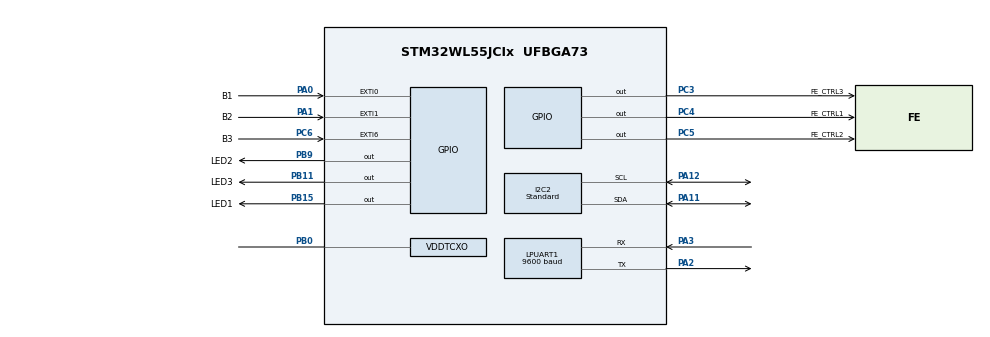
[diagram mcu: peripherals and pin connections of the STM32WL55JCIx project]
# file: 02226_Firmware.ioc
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I2C2.I2C_Speed_Mode=I2C_Standard
I2C2.Timing=0x20303E5D
LPUART1.BaudRate=9600
Mcu.Family=STM32WL
Mcu.Name=STM32WL55JCIx
Mcu.Package=UFBGA73
NVIC.PriorityGroup=NVIC_PRIORITYGROUP_4
NVIC.SUBGHZ_Radio_IRQn=true\:0\:0\:false\:false\:true\:true\:true\:true
OSC_IN.Mode=HSE-TCXO
OSC_IN.Signal=RCC_OSC_IN
PA0.GPIO_Label=B1
PA0.GPIO_ModeDefaultEXTI=GPIO_MODE_IT_FALLING
PA0.GPIO_PuPd=GPIO_PULLUP
PA0.Signal=GPXTI0
PA1.GPIO_Label=B2
PA1.GPIO_ModeDefaultEXTI=GPIO_MODE_IT_FALLING
PA1.GPIO_PuPd=GPIO_PULLUP
PA1.Signal=GPXTI1
PA11.GPIO_Pu=GPIO_PULLUP
PA11.GPIO_Speed=GPIO_SPEED_FREQ_VERY_HIGH
PA11.Mode=I2C
PA11.Signal=I2C2_SDA
PA12.GPIO_Pu=GPIO_PULLUP
PA12.GPIO_Speed=GPIO_SPEED_FREQ_VERY_HIGH
PA12.Mode=I2C
PA12.Signal=I2C2_SCL
PA13.Mode=Serial_Wire
PA13.Signal=DEBUG_JTMS-SWDIO
PA14.Mode=Serial_Wire
PA14.Signal=DEBUG_JTCK-SWCLK
PA2.Mode=Asynchronous
PA2.Signal=LPUART1_TX
PA3.Mode=Asynchronous
PA3.Signal=LPUART1_RX
PB0-VDD_TCXO.Mode=HSE-TCXO
PB0-VDD_TCXO.Signal=VDDTCXO
PB11.GPIO_Label=LED3
PB11.GPIO_Speed=GPIO_SPEED_FREQ_HIGH
PB11.PinState=GPIO_PIN_SET
PB11.Signal=GPIO_Output
PB15.GPIO_Label=LED1
PB15.GPIO_Speed=GPIO_SPEED_FREQ_HIGH
PB15.PinState=GPIO_PIN_SET
PB15.Signal=GPIO_Output
PB9.GPIO_FM9=__NULL
PB9.GPIO_Label=LED2
PB9.GPIO_Speed=GPIO_SPEED_FREQ_HIGH
PB9.PinState=GPIO_PIN_RESET
PB9.Signal=GPIO_Output
PC14-OSC32_IN.Mode=LSE-External-Oscillator
PC14-OSC32_IN.Signal=RCC_OSC32_IN
PC15-OSC32_OUT.Mode=LSE-External-Oscillator
PC15-OSC32_OUT.Signal=RCC_OSC32_OUT
PC3.GPIO_Label=FE_CTRL3
PC3.GPIO_Speed=GPIO_SPEED_FREQ_VERY_HIGH
PC3.Signal=GPIO_Output
PC4.GPIO_Label=FE_CTRL1
PC4.GPIO_Speed=GPIO_SPEED_FREQ_VERY_HIGH
PC4.Signal=GPIO_Output
PC5.GPIO_Label=FE_CTRL2
PC5.GPIO_Speed=GPIO_SPEED_FREQ_VERY_HIGH
PC5.Signal=GPIO_Output
PC6.GPIO_Label=B3
PC6.GPIO_ModeDefaultEXTI=GPIO_MODE_IT_FALLING
PC6.GPIO_PuPd=GPIO_PULLUP
PC6.Signal=GPXTI6
ProjectManager.HeapSize=0x200
ProjectManager.StackSize=0x400
ProjectManager.TargetToolchain=STM32CubeIDE
RCC.AHBFreq_Value=48000000
RCC.APB1Freq_Value=48000000
RCC.APB1TimFreq_Value=48000000
RCC.APB2Freq_Value=48000000
RCC.APB2TimFreq_Value=48000000
RCC.APB3Freq_Value=48000000
RCC.CortexFreq_Value=48000000
RCC.HCLKFreq_Value=48000000
RCC.HSE_VALUE=32000000
RCC.HSI_VALUE=16000000
RCC.LPUART1CLockSelection=RCC_LPUART1CLKSOURCE_HSI
RCC.LSE_VALUE=32768
RCC.MSIClockRange=RCC_MSIRANGE_11
RCC.SYSCLKFreq_VALUE=48000000
RCC.VCOOutputFreq_Value=384000000
SUBGHZ.BaudratePrescaler=SUBGHZSPI_BAUDRATEPRESCALER_4
VP_SUBGHZ_VS_SUBGHZ.Mode=SUBGHZ_Activate
board=NUCLEO-WL55JC1

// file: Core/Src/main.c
/* USER CODE BEGIN Header */
/**
 ******************************************************************************
 * @file           : main.c
 * @brief          : Main program body
 ******************************************************************************
 * @attention
 *
 * Copyright (c) 2023 STMicroelectronics.
 * All rights reserved.
 *
 * This software is licensed under terms that can be found in the LICENSE file
 * in the root directory of this software component.
 * If no LICENSE file comes with this software, it is provided AS-IS.
 *
 ******************************************************************************
 */
/* USER CODE END Header */
#include "main.h"
#include "gpio.h"
#include "i2c.h"
#include "stm32wlxx_hal.h"
#include "stm32wlxx_hal_def.h"
#include "stm32wlxx_hal_uart.h"
#include "subghz.h"
#include "usart.h"

/* USER CODE BEGIN Includes */

#include "bme680.h"
#include "radio_driver.h"
#include "stm32wlxx_nucleo.h"
#include <stddef.h>
#include <stdint.h>
#include <stdio.h>
#include <string.h>

/* USER CODE END Includes */

/* USER CODE BEGIN PTD */

typedef enum { STATE_NULL, STATE_MASTER, STATE_SLAVE } state_t;

typedef enum { SSTATE_NULL, SSTATE_RX, SSTATE_TX } substate_t;

typedef struct {
  state_t state;
  substate_t subState;
  uint32_t rxTimeout;
  uint32_t rxMargin;
  uint32_t randomDelay;
  char rxBuffer[RX_BUFFER_SIZE];
  uint8_t rxSize;
} pingPongFSM_t;

/* USER CODE END PTD */

/* USER CODE BEGIN PM */

#define RF_FREQUENCY 868000000 /* Hz */
#define TX_OUTPUT_POWER 14     /* dBm */
#define LORA_BANDWIDTH 0       /* Hz */
#define LORA_SPREADING_FACTOR 10
#define LORA_CODINGRATE 1
#define LORA_PREAMBLE_LENGTH 8 /* Same for Tx and Rx */
#define LORA_SYMBOL_TIMEOUT 5  /* Symbols */

/* USER CODE END PM */

/* USER CODE BEGIN PV */

char message[50];
void (*volatile eventReceptor)(pingPongFSM_t *const fsm);
PacketParams_t packetParams; // TODO: this is lazy
const RadioLoRaBandwidths_t Bandwidths[] = {LORA_BW_125, LORA_BW_250,
                                            LORA_BW_500};

/* USER CODE END PV */

void SystemClock_Config(void);
/* USER CODE BEGIN PFP */

void radioInit(void);
void RadioOnDioIrq(RadioIrqMasks_t radioIrq);
void eventTxDone(pingPongFSM_t *const fsm);
void eventRxDone(pingPongFSM_t *const fsm);
void eventTxTimeout(pingPongFSM_t *const fsm);
void eventRxTimeout(pingPongFSM_t *const fsm);
void eventRxError(pingPongFSM_t *const fsm);
void enterMasterRx(pingPongFSM_t *const fsm);
void enterSlaveRx(pingPongFSM_t *const fsm);
void enterMasterTx(pingPongFSM_t *const fsm, char *message, size_t size);
void enterSlaveTx(pingPongFSM_t *const fsm, char *message, size_t size);
void transitionRxDone(pingPongFSM_t *const fsm);

/* USER CODE END PFP */

/* USER CODE BEGIN 0 */

#ifdef TRANSMITTER

void user_delay_ms(uint32_t period) { HAL_Delay(period); }

int8_t user_i2c_read(uint8_t dev_id, uint8_t reg_addr, uint8_t *reg_data,
                     uint16_t len) {
  int8_t rslt = 0;
  HAL_StatusTypeDef status = HAL_OK;

  status = HAL_I2C_Mem_Read(&hi2c2, (uint16_t)(dev_id << 1), reg_addr,
                            I2C_MEMADD_SIZE_8BIT, (uint8_t *)reg_data, len, 5);

  if (status != HAL_OK)
    rslt = -1;

  return rslt;
}

int8_t user_i2c_write(uint8_t dev_id, uint8_t reg_addr, uint8_t *reg_data,
                      uint16_t len) {
  int8_t rslt = 0;
  HAL_StatusTypeDef status = HAL_OK;

  status = HAL_I2C_Mem_Write(&hi2c2, (uint16_t)(dev_id << 1), reg_addr,
                             I2C_MEMADD_SIZE_8BIT, (uint8_t *)reg_data, len, 5);

  if (status != HAL_OK)
    rslt = -1;

  return rslt;
}

#endif

/* USER CODE END 0 */

int main(void) {
  /* USER CODE BEGIN 1 */

  pingPongFSM_t fsm;
  char uartBuff[100];

  /* USER CODE END 1 */

  /* MCU Configuration--------------------------------------------------------*/

  /* Reset of all peripherals, Initializes the Flash interface and the Systick.
   */
  HAL_Init();

  /* Configure the system clock */
  SystemClock_Config();

  /* Initialize all configured peripherals */
  MX_GPIO_Init();
  MX_I2C2_Init();
  MX_LPUART1_UART_Init();
  MX_SUBGHZ_Init();
  /* USER CODE BEGIN 2 */

  strcpy(uartBuff,
         "\n\r02226 Networked Embedded Systems\r\nDTU\r\n---------------\r\n");
  HAL_UART_Transmit(&hlpuart1, (uint8_t *)uartBuff, strlen(uartBuff),
                    HAL_MAX_DELAY);
  sprintf(uartBuff, "LORA_MODULATION\r\nLORA_BW=%d Hz\r\nLORA_SF=%d\r\n",
          (1 << LORA_BANDWIDTH) * 125, LORA_SPREADING_FACTOR);
  HAL_UART_Transmit(&hlpuart1, (uint8_t *)uartBuff, strlen(uartBuff),
                    HAL_MAX_DELAY);
  radioInit();

  uint32_t rnd = 0;
  SUBGRF_SetDioIrqParams(IRQ_RADIO_NONE, IRQ_RADIO_NONE, IRQ_RADIO_NONE,
                         IRQ_RADIO_NONE);
  rnd = SUBGRF_GetRandom();

  fsm.state = STATE_NULL;
  fsm.subState = SSTATE_NULL;
  fsm.rxTimeout = 3000;        // 3000 ms
  fsm.rxMargin = 200;          // 200 ms
  fsm.randomDelay = rnd >> 22; // [0, 1023] ms
  sprintf(uartBuff, "rand=%lu\r\n", fsm.randomDelay);
  HAL_UART_Transmit(&hlpuart1, (uint8_t *)uartBuff, strlen(uartBuff),
                    HAL_MAX_DELAY);

  HAL_Delay(fsm.randomDelay);
  SUBGRF_SetDioIrqParams(IRQ_RX_DONE | IRQ_RX_TX_TIMEOUT | IRQ_CRC_ERROR,
                         IRQ_RX_DONE | IRQ_RX_TX_TIMEOUT | IRQ_CRC_ERROR,
                         IRQ_RADIO_NONE, IRQ_RADIO_NONE);
  SUBGRF_SetSwitch(RFO_LP, RFSWITCH_RX);
  SUBGRF_SetRx(fsm.rxTimeout << 6);
  fsm.state = STATE_MASTER;
  fsm.subState = SSTATE_RX;

  HAL_Delay(2000);
  BSP_LED_Off(LED_BLUE);
  BSP_LED_On(LED_RED);

#ifdef TRANSMITTER

  /* Initializing sensor */
  struct bme680_dev sensor;
  sensor.dev_id = BME680_I2C_ADDR_SECONDARY;
  sensor.intf = BME680_I2C_INTF;
  sensor.read = user_i2c_read;
  sensor.write = user_i2c_write;
  sensor.delay_ms = user_delay_ms;
  sensor.amb_temp = 25;

  int8_t rslt = BME680_OK;
  rslt = bme680_init(&sensor);

  if (rslt != 0) {
    // Initialization failed
  }

  /* Configuring sensor */
  sensor.tph_sett.os_hum = BME680_OS_2X;
  sensor.tph_sett.os_pres = BME680_OS_4X;
  sensor.tph_sett.os_temp = BME680_OS_8X;
  sensor.tph_sett.filter = BME680_FILTER_SIZE_3;
  sensor.gas_sett.run_gas = BME680_DISABLE_GAS_MEAS;
  sensor.gas_sett.heatr_temp = 0;
  sensor.gas_sett.heatr_dur = 0;
  sensor.power_mode = BME680_FORCED_MODE;

  uint8_t set_required_settings = BME680_OST_SEL | BME680_OSP_SEL |
                                  BME680_OSH_SEL | BME680_FILTER_SEL |
                                  BME680_GAS_SENSOR_SEL;

  rslt = bme680_set_sensor_settings(set_required_settings, &sensor);
  rslt = bme680_set_sensor_mode(&sensor);

  uint16_t meas_period;
  bme680_get_profile_dur(&meas_period, &sensor);

  struct bme680_field_data data;

#endif

  /* USER CODE END 2 */

  /* Infinite loop */
  /* USER CODE BEGIN WHILE */
  while (1) {

    eventReceptor = NULL;
    while (eventReceptor == NULL)
      ;
    eventReceptor(&fsm);

#ifdef TRANSMITTER

    rslt = bme680_get_sensor_data(&data, &sensor);

    sprintf(message, ",%d,%d,%d", data.temperature, data.pressure,
            data.humidity);

    rslt = bme680_set_sensor_mode(&sensor);

#endif

    /* USER CODE END WHILE */

  }
}

void SystemClock_Config(void) {
  RCC_OscInitTypeDef RCC_OscInitStruct = {0};
  RCC_ClkInitTypeDef RCC_ClkInitStruct = {0};

  /** Configure LSE Drive Capability
   */
  HAL_PWR_EnableBkUpAccess();
  __HAL_RCC_LSEDRIVE_CONFIG(RCC_LSEDRIVE_LOW);

  /** Configure the main internal regulator output voltage
   */
  __HAL_PWR_VOLTAGESCALING_CONFIG(PWR_REGULATOR_VOLTAGE_SCALE1);

  /** Initializes the CPU, AHB and APB buses clocks
   */
  RCC_OscInitStruct.OscillatorType =
      RCC_OSCILLATORTYPE_HSI | RCC_OSCILLATORTYPE_LSE | RCC_OSCILLATORTYPE_MSI;
  RCC_OscInitStruct.LSEState = RCC_LSE_ON;
  RCC_OscInitStruct.HSIState = RCC_HSI_ON;
  RCC_OscInitStruct.MSIState = RCC_MSI_ON;
  RCC_OscInitStruct.HSICalibrationValue = RCC_HSICALIBRATION_DEFAULT;
  RCC_OscInitStruct.MSICalibrationValue = RCC_MSICALIBRATION_DEFAULT;
  RCC_OscInitStruct.MSIClockRange = RCC_MSIRANGE_11;
  RCC_OscInitStruct.PLL.PLLState = RCC_PLL_NONE;
  if (HAL_RCC_OscConfig(&RCC_OscInitStruct) != HAL_OK) {
    Error_Handler();
  }

  /** Configure the SYSCLKSource, HCLK, PCLK1 and PCLK2 clocks dividers
   */
  RCC_ClkInitStruct.ClockType = RCC_CLOCKTYPE_HCLK3 | RCC_CLOCKTYPE_HCLK |
                                RCC_CLOCKTYPE_SYSCLK | RCC_CLOCKTYPE_PCLK1 |
                                RCC_CLOCKTYPE_PCLK2;
  RCC_ClkInitStruct.SYSCLKSource = RCC_SYSCLKSOURCE_MSI;
  RCC_ClkInitStruct.AHBCLKDivider = RCC_SYSCLK_DIV1;
  RCC_ClkInitStruct.APB1CLKDivider = RCC_HCLK_DIV1;
  RCC_ClkInitStruct.APB2CLKDivider = RCC_HCLK_DIV1;
  RCC_ClkInitStruct.AHBCLK3Divider = RCC_SYSCLK_DIV1;

  if (HAL_RCC_ClockConfig(&RCC_ClkInitStruct, FLASH_LATENCY_2) != HAL_OK) {
    Error_Handler();
  }
}

/* USER CODE BEGIN 4 */

/**
 * @brief  Initialize the Sub-GHz radio and dependent hardware.
 * @retval None
 */
void radioInit(void) {
  // Initialize the hardware (SPI bus, TCXO control, RF switch)
  SUBGRF_Init(RadioOnDioIrq);

  // Use DCDC converter if `DCDC_ENABLE` is defined in radio_conf.h
  // "By default, the SMPS clock detection is disabled and must be enabled
  // before enabling the SMPS." (6.1 in RM0453)
  SUBGRF_WriteRegister(SUBGHZ_SMPSC0R, (SUBGRF_ReadRegister(SUBGHZ_SMPSC0R) |
                                        SMPS_CLK_DET_ENABLE));
  SUBGRF_SetRegulatorMode();

  // Use the whole 256-byte buffer for both TX and RX
  SUBGRF_SetBufferBaseAddress(0x00, 0x00);

  SUBGRF_SetRfFrequency(RF_FREQUENCY);
  SUBGRF_SetRfTxPower(TX_OUTPUT_POWER);
  SUBGRF_SetStopRxTimerOnPreambleDetect(false);

  SUBGRF_SetPacketType(PACKET_TYPE_LORA);

  SUBGRF_WriteRegister(REG_LR_SYNCWORD,
                       (LORA_MAC_PRIVATE_SYNCWORD >> 8) & 0xFF);
  SUBGRF_WriteRegister(REG_LR_SYNCWORD + 1, LORA_MAC_PRIVATE_SYNCWORD & 0xFF);

  ModulationParams_t modulationParams;
  modulationParams.PacketType = PACKET_TYPE_LORA;
  modulationParams.Params.LoRa.Bandwidth = Bandwidths[LORA_BANDWIDTH];
  modulationParams.Params.LoRa.CodingRate =
      (RadioLoRaCodingRates_t)LORA_CODINGRATE;
  modulationParams.Params.LoRa.LowDatarateOptimize = 0x00;
  modulationParams.Params.LoRa.SpreadingFactor =
      (RadioLoRaSpreadingFactors_t)LORA_SPREADING_FACTOR;
  SUBGRF_SetModulationParams(&modulationParams);

  packetParams.PacketType = PACKET_TYPE_LORA;
  packetParams.Params.LoRa.CrcMode = LORA_CRC_ON;
  packetParams.Params.LoRa.HeaderType = LORA_PACKET_VARIABLE_LENGTH;
  packetParams.Params.LoRa.InvertIQ = LORA_IQ_NORMAL;
  packetParams.Params.LoRa.PayloadLength = 0xFF;
  packetParams.Params.LoRa.PreambleLength = LORA_PREAMBLE_LENGTH;
  SUBGRF_SetPacketParams(&packetParams);

  // SUBGRF_SetLoRaSymbNumTimeout(LORA_SYMBOL_TIMEOUT);

  // WORKAROUND - Optimizing the Inverted IQ Operation, see DS_SX1261-2_V1.2
  // datasheet chapter 15.4 RegIqPolaritySetup @address 0x0736
  SUBGRF_WriteRegister(0x0736, SUBGRF_ReadRegister(0x0736) | (1 << 2));
}

/**
 * @brief  Receive data trough SUBGHZSPI peripheral
 * @param  radioIrq  interrupt pending status information
 * @retval None
 */
void RadioOnDioIrq(RadioIrqMasks_t radioIrq) {
  switch (radioIrq) {
  case IRQ_TX_DONE:
    eventReceptor = eventTxDone;
    break;
  case IRQ_RX_DONE:
    eventReceptor = eventRxDone;
    break;
  case IRQ_RX_TX_TIMEOUT:
    if (SUBGRF_GetOperatingMode() == MODE_TX) {
      eventReceptor = eventTxTimeout;
    } else if (SUBGRF_GetOperatingMode() == MODE_RX) {
      eventReceptor = eventRxTimeout;
    }
    break;
  case IRQ_CRC_ERROR:
    eventReceptor = eventRxError;
    break;
  default:
    break;
  }
}

/**
 * @brief  Process the TX Done event
 * @param  fsm pointer to FSM context
 * @retval None
 */
void eventTxDone(pingPongFSM_t *const fsm) {
  switch (fsm->state) {
  case STATE_MASTER:
    switch (fsm->subState) {
    case SSTATE_TX:
      enterMasterRx(fsm);
      fsm->subState = SSTATE_RX;
      break;
    default:
      break;
    }
    break;
  case STATE_SLAVE:
    switch (fsm->subState) {
    case SSTATE_TX:
      enterSlaveRx(fsm);
      fsm->subState = SSTATE_RX;
      break;
    default:
      break;
    }
    break;
  default:
    break;
  }
}

void uartLogEvent(pingPongFSM_t *const fsm) {
  PacketStatus_t packetStatus;
  SUBGRF_GetPacketStatus(&packetStatus);
  char uart_buffer[50];
  strncpy(uart_buffer, fsm->rxBuffer, fsm->rxSize);
  uart_buffer[fsm->rxSize] = '\0';
  sprintf(uart_buffer + fsm->rxSize, ",%d,%d\r\n",
          packetStatus.Params.LoRa.RssiPkt, packetStatus.Params.LoRa.SnrPkt);
  HAL_UART_Transmit(&hlpuart1, (uint8_t *)uart_buffer, strlen(uart_buffer),
                    HAL_MAX_DELAY);
  BSP_LED_Off(LED_RED);
  BSP_LED_Toggle(LED_BLUE);
}

/**
 * @brief  Process the RX Done event
 * @param  fsm pointer to FSM context
 * @retval None
 */
void eventRxDone(pingPongFSM_t *const fsm) {
  switch (fsm->state) {
  case STATE_MASTER:
    switch (fsm->subState) {
    case SSTATE_RX:
      transitionRxDone(fsm);
      if (strncmp(fsm->rxBuffer, "iOuC", 4) == 0) {
        uartLogEvent(fsm);
        enterMasterTx(fsm, message, strlen(message));
        fsm->subState = SSTATE_TX;
      } else if (strncmp(fsm->rxBuffer, "nX05", 4) == 0) {
        uartLogEvent(fsm);
        enterSlaveRx(fsm);
        fsm->state = STATE_SLAVE;
      } else {
        enterMasterRx(fsm);
      }
      break;
    default:
      break;
    }
    break;
  case STATE_SLAVE:
    switch (fsm->subState) {
    case SSTATE_RX:
      transitionRxDone(fsm);
      if (strncmp(fsm->rxBuffer, "nX05", 4) == 0) {
        uartLogEvent(fsm);
        enterSlaveTx(fsm, message, strlen(message));
        fsm->subState = SSTATE_TX;
      } else {
        enterMasterRx(fsm);
        fsm->state = STATE_MASTER;
      }
      break;
    default:
      break;
    }
    break;
  default:
    break;
  }
}

/**
 * @brief  Process the TX Timeout event
 * @param  fsm pointer to FSM context
 * @retval None
 */
void eventTxTimeout(pingPongFSM_t *const fsm) {
  HAL_UART_Transmit(&hlpuart1, (uint8_t *)"Event TX Timeout,,,,\r\n", 22,
                    HAL_MAX_DELAY);
  BSP_LED_Off(LED_BLUE);
  BSP_LED_On(LED_RED);
  switch (fsm->state) {
  case STATE_MASTER:
    switch (fsm->subState) {
    case SSTATE_TX:
      enterMasterRx(fsm);
      fsm->subState = SSTATE_RX;
      break;
    default:
      break;
    }
    break;
  case STATE_SLAVE:
    switch (fsm->subState) {
    case SSTATE_TX:
      enterSlaveRx(fsm);
      fsm->subState = SSTATE_RX;
      break;
    default:
      break;
    }
    break;
  default:
    break;
  }
}

/**
 * @brief  Process the RX Timeout event
 * @param  fsm pointer to FSM context
 * @retval None
 */
void eventRxTimeout(pingPongFSM_t *const fsm) {
  HAL_UART_Transmit(&hlpuart1, (uint8_t *)"Event RX Timeout,,,,\r\n", 22,
                    HAL_MAX_DELAY);
  BSP_LED_Off(LED_BLUE);
  BSP_LED_On(LED_RED);
  switch (fsm->state) {
  case STATE_MASTER:
    switch (fsm->subState) {
    case SSTATE_RX:
      HAL_Delay(fsm->randomDelay);
      enterMasterTx(fsm, message, strlen(message));
      fsm->subState = SSTATE_TX;
      break;
    default:
      break;
    }
    break;
  case STATE_SLAVE:
    switch (fsm->subState) {
    case SSTATE_RX:
      enterSlaveRx(fsm);
      break;
    default:
      break;
    }
    break;
  default:
    break;
  }
}

/**
 * @brief  Process the RX Error event
 * @param  fsm pointer to FSM context
 * @retval None
 */
void eventRxError(pingPongFSM_t *const fsm) {
  HAL_UART_Transmit(&hlpuart1, (uint8_t *)"Event RX Error,,,,\r\n", 20,
                    HAL_MAX_DELAY);
  BSP_LED_Off(LED_BLUE);
  BSP_LED_On(LED_RED);
  switch (fsm->state) {
  case STATE_MASTER:
    switch (fsm->subState) {
    case SSTATE_RX:
      HAL_Delay(fsm->randomDelay);
      enterMasterTx(fsm, message, strlen(message));
      fsm->subState = SSTATE_TX;
      break;
    default:
      break;
    }
    break;
  case STATE_SLAVE:
    switch (fsm->subState) {
    case SSTATE_RX:
      enterSlaveRx(fsm);
      break;
    default:
      break;
    }
    break;
  default:
    break;
  }
}

/**
 * @brief  Entry actions for the RX sub-state of the Master state
 * @param  fsm pointer to FSM context
 * @retval None
 */
void enterMasterRx(pingPongFSM_t *const fsm) {
  SUBGRF_SetDioIrqParams(
      IRQ_RX_DONE | IRQ_RX_TX_TIMEOUT | IRQ_CRC_ERROR | IRQ_HEADER_ERROR,
      IRQ_RX_DONE | IRQ_RX_TX_TIMEOUT | IRQ_CRC_ERROR | IRQ_HEADER_ERROR,
      IRQ_RADIO_NONE, IRQ_RADIO_NONE);
  SUBGRF_SetSwitch(RFO_LP, RFSWITCH_RX);
  packetParams.Params.LoRa.PayloadLength = 0xFF;
  SUBGRF_SetPacketParams(&packetParams);
  SUBGRF_SetRx(fsm->rxTimeout << 6);
}

/**
 * @brief  Entry actions for the RX sub-state of the Slave state
 * @param  fsm pointer to FSM context
 * @retval None
 */
void enterSlaveRx(pingPongFSM_t *const fsm) {
  SUBGRF_SetDioIrqParams(
      IRQ_RX_DONE | IRQ_RX_TX_TIMEOUT | IRQ_CRC_ERROR | IRQ_HEADER_ERROR,
      IRQ_RX_DONE | IRQ_RX_TX_TIMEOUT | IRQ_CRC_ERROR | IRQ_HEADER_ERROR,
      IRQ_RADIO_NONE, IRQ_RADIO_NONE);
  SUBGRF_SetSwitch(RFO_LP, RFSWITCH_RX);
  packetParams.Params.LoRa.PayloadLength = 0xFF;
  SUBGRF_SetPacketParams(&packetParams);
  SUBGRF_SetRx(fsm->rxTimeout << 6);
}

/**
 * @brief  Entry actions for the TX sub-state of the Master state
 * @param  fsm pointer to FSM context
 * @retval None
 */
void enterMasterTx(pingPongFSM_t *const fsm, char *message, size_t size) {
  HAL_Delay(fsm->rxMargin);
  char payload[50] = "nX05";
  strcat(payload, message);
  SUBGRF_SetDioIrqParams(IRQ_TX_DONE | IRQ_RX_TX_TIMEOUT,
                         IRQ_TX_DONE | IRQ_RX_TX_TIMEOUT, IRQ_RADIO_NONE,
                         IRQ_RADIO_NONE);
  SUBGRF_SetSwitch(RFO_LP, RFSWITCH_TX);
  // Workaround 5.1 in DS.SX1261-2.W.APP (before each packet transmission)
  SUBGRF_WriteRegister(0x0889, (SUBGRF_ReadRegister(0x0889) | 0x04));
  packetParams.Params.LoRa.PayloadLength = strlen(payload);
  SUBGRF_SetPacketParams(&packetParams);
  SUBGRF_SendPayload((uint8_t *)payload, strlen(payload), 0);
}

/**
 * @brief  Entry actions for the TX sub-state of the Slave state
 * @param  fsm pointer to FSM context
 * @retval None
 */
void enterSlaveTx(pingPongFSM_t *const fsm, char *message, size_t size) {
  HAL_Delay(fsm->rxMargin);
  char payload[50] = "iOuC";
  strcat(payload, message);
  SUBGRF_SetDioIrqParams(IRQ_TX_DONE | IRQ_RX_TX_TIMEOUT,
                         IRQ_TX_DONE | IRQ_RX_TX_TIMEOUT, IRQ_RADIO_NONE,
                         IRQ_RADIO_NONE);
  SUBGRF_SetSwitch(RFO_LP, RFSWITCH_TX);
  // Workaround 5.1 in DS.SX1261-2.W.APP (before each packet transmission)
  SUBGRF_WriteRegister(0x0889, (SUBGRF_ReadRegister(0x0889) | 0x04));
  packetParams.Params.LoRa.PayloadLength = strlen(payload);
  SUBGRF_SetPacketParams(&packetParams);
  SUBGRF_SendPayload((uint8_t *)payload, strlen(payload), 0);
}

/**
 * @brief  Transition actions executed on every RX Done event (helper function)
 * @param  fsm pointer to FSM context
 * @retval None
 */
void transitionRxDone(pingPongFSM_t *const fsm) {
  PacketStatus_t packetStatus;
  // Workaround 15.3 in DS.SX1261-2.W.APP (because following RX w/ timeout
  // sequence)
  SUBGRF_WriteRegister(0x0920, 0x00);
  SUBGRF_WriteRegister(0x0944, (SUBGRF_ReadRegister(0x0944) | 0x02));

  SUBGRF_GetPayload((uint8_t *)fsm->rxBuffer, &fsm->rxSize, 0xFF);
  SUBGRF_GetPacketStatus(&packetStatus);
}

/* USER CODE END 4 */

void Error_Handler(void) {
  __disable_irq();
  while (1) {
  }
}

#ifdef USE_FULL_ASSERT
/**
 * @brief  Reports the name of the source file and the source line number
 *         where the assert_param error has occurred.
 * @param  file: pointer to the source file name
 * @param  line: assert_param error line source number
 * @retval None
 */
void assert_failed(uint8_t *file, uint32_t line) {
  /* USER CODE BEGIN 6 */
  /* User can add his own implementation to report the file name and line
     number, ex: printf("Wrong parameters value: file %s on line %d\r\n", file,
     line) */
  /* USER CODE END 6 */
}
#endif /* USE_FULL_ASSERT */
